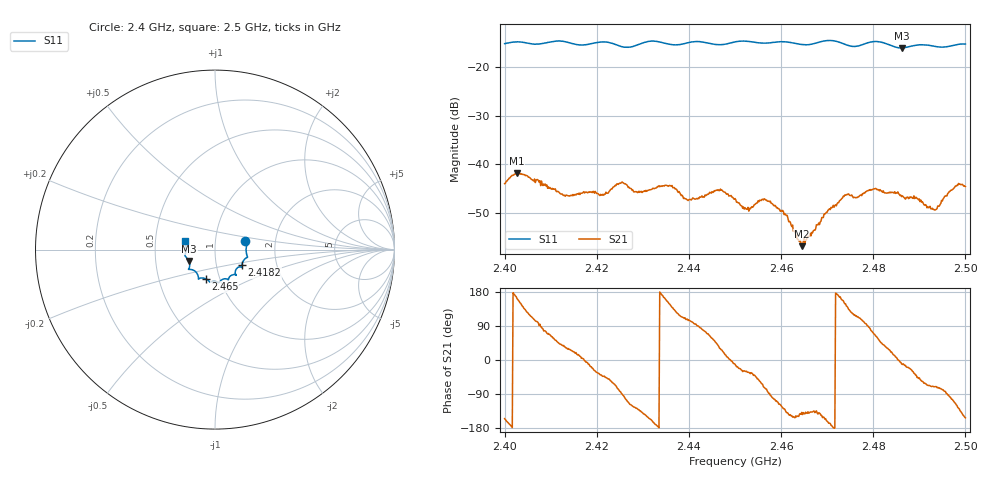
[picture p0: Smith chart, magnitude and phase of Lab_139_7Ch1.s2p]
# Hz S RI R 50
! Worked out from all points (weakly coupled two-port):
!   601 points, 2.4 GHz to 2.5 GHz, reference 50 ohm
!   highest |S21| = -41.92 dB at 2.4027 GHz (marker M1); lowest = -56.9 dB at 2.4645 GHz (marker M2)
!   lowest |S11| = -16.0 dB at 2.4862 GHz (marker M3), VSWR 1.38, Z = 37.1 - j4.84 ohm
!   |S11| at or under -10 dB: start of sweep to end of sweep
!   S12 and S22 are empty: the file has one direction only
!   S11 on the Smith chart (normalised r, x): 2.4 GHz: 1.40, +0.13; 2.4182 GHz: 1.33, -0.23; 2.465 GHz: 0.86, -0.29; 2.5 GHz: 0.71, +0.07
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2.4e9  0.1689 0.0458  -0.00568 -0.00267  0 0  0 0
2.402667e9  0.1796 0.0341  -0.00766 0.00237  0 0  0 0
2.412667e9  0.18 -0.0436  0.0038 0.00292  0 0  0 0
2.416667e9  0.1549 -0.0685  0.00498 0.0004  0 0  0 0
2.418167e9  0.1497 -0.0851  0.005 -0.000963  0 0  0 0
2.425333e9  0.1312 -0.0973  0.00024 -0.00642  0 0  0 0
2.433333e9  0.1167 -0.1416  -0.00583 -0.000416  0 0  0 0
2.44e9  0.0757 -0.1632  -0.00115 0.00413  0 0  0 0
2.446667e9  0.0468 -0.1641  0.00458 0.00272  0 0  0 0
2.45e9  0.0253 -0.1809  0.00433 -0.000854  0 0  0 0
2.4525e9  0.0198 -0.1845  0.00297 -0.00169  0 0  0 0
2.457667e9  -0.0154 -0.1781  -0.000261 -0.00413  0 0  0 0
2.460833e9  -0.03 -0.1803  -0.00201 -0.00234  0 0  0 0
2.4645e9  -0.0474 -0.1648  -0.00106 -0.000947  0 0  0 0
2.465e9  -0.0526 -0.1623  -0.00134 -0.00106  0 0  0 0
2.466667e9  -0.0713 -0.1578  -0.00145 -0.00134  0 0  0 0
2.474e9  -0.0958 -0.1421  -0.00405 0.00251  0 0  0 0
2.483333e9  -0.1419 -0.096  0.00446 0.00235  0 0  0 0
2.486167e9  -0.1446 -0.0635  0.00454 -0.000861  0 0  0 0
2.493333e9  -0.1634 -0.0163  0.00112 -0.00316  0 0  0 0
2.498e9  -0.1668 0.0362  -0.00278 -0.00523  0 0  0 0
2.5e9  -0.1669 0.0473  -0.0052 -0.00269  0 0  0 0
